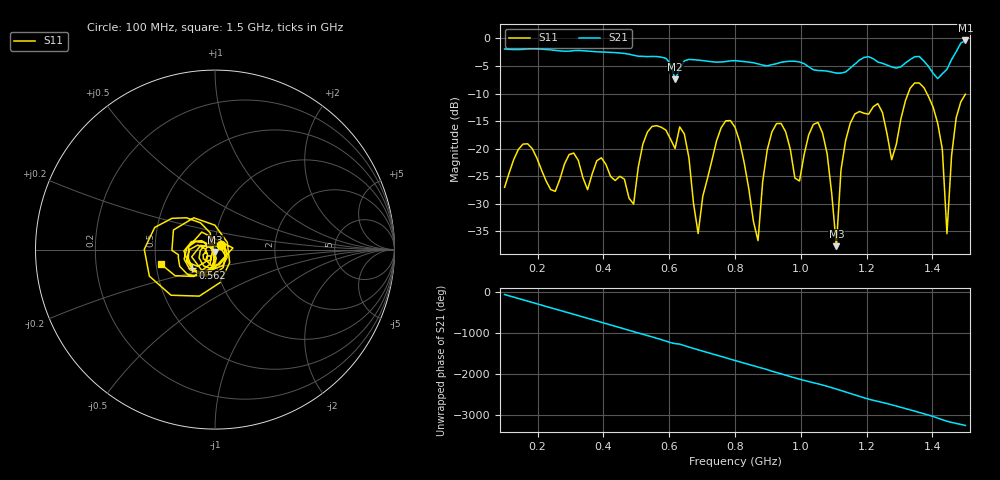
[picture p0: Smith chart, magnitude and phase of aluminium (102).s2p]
! NanoVNA-App
! Date: 2025-09-25 14:56:04
! Start: 100MHz Stop: 1,5GHz Points: 101
! S-Parameter data: F S11 S21 S12 S22
# Hz S RI R 50
!  Frequency  S11_Real  S11_Imag  S21_Real  S21_Imag  S12_Real  S12_Imag  S22_Real  S22_Imag
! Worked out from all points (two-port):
!   101 points, 100 MHz to 1.5 GHz, reference 50 ohm
!   highest |S21| = -0.37 dB at 1.5 GHz (marker M1); lowest = -7.4 dB at 618 MHz (marker M2)
!   |S21| within 3 dB of the highest: start of sweep to 573 MHz; 1.463 GHz to end of sweep (the widest 2 of 4)
!   lowest |S11| = -37.7 dB at 1.108 GHz (marker M3), VSWR 1.03, Z = 50 - j1.31 ohm
!   |S11| at or under -10 dB: start of sweep to 1.326 GHz; 1.383 GHz to end of sweep
!   S12 and S22 are empty: the file has one direction only
!   S11 on the Smith chart (normalised r, x): 100 MHz: 1.07, +0.06; 562 MHz: 0.76, -0.16; 1.5 GHz: 0.53, -0.10
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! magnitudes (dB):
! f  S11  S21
! 100 MHz  -27.0  -1.9
! 338 MHz  -25.2  -2.2
! 492 MHz  -30.0  -3.0
! 562 MHz  -15.8  -3.3
! 576 MHz  -16.1  -3.4
! 618 MHz  -20.0  -7.4
! 646 MHz  -17.3  -4.1
! 688 MHz  -35.4  -3.9
! 800 MHz  -16.1  -4.0
! 870 MHz  -36.7  -4.6
! 912 MHz  -17.0  -4.8
! 996 MHz  -25.8  -4.3
! 1.038 GHz  -15.6  -5.7
! 1.08 GHz  -20.9  -5.9
! 1.108 GHz  -37.7  -6.3
! 1.164 GHz  -13.7  -4.7
! 1.276 GHz  -22.0  -5.2
! 1.374 GHz  -8.9  -4.1
! 1.43 GHz  -20.1  -6.4
! 1.444 GHz  -35.4  -5.6
! 1.472 GHz  -14.4  -2.4
! 1.5 GHz  -10.1  -0.4
